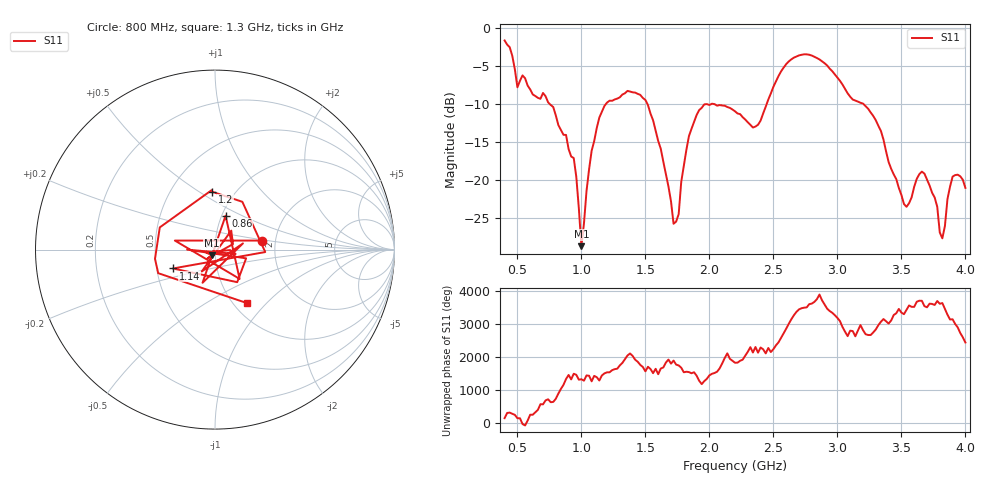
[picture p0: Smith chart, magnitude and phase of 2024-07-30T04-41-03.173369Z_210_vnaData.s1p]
!Created with skrf (http://scikit-rf.org).
# Hz S RI R 50.0
!freq ReS11 ImS11
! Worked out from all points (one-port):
!   181 points, 400 MHz to 4 GHz, reference 50 ohm
!   lowest |S11| = -28.7 dB at 1 GHz (marker M1), VSWR 1.08, Z = 48.2 - j3.12 ohm
!   |S11| at or under -10 dB: 751.6 MHz to 1.192 GHz (440.6 MHz wide, 45.3 % of centre); 1.516 GHz to 2.017 GHz (501.8 MHz wide, 28.4 % of centre); 3.202 GHz to end of sweep (the widest 3 of 4)
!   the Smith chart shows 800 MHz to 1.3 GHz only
!   S11 on the Smith chart (normalised r, x): 800 MHz: 1.69, +0.18; 860 MHz: 1.04, +0.41; 1.14 GHz: 0.61, -0.14; 1.2 GHz: 0.79, +0.57; 1.3 GHz: 1.15, -0.79
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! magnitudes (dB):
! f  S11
! 400 MHz  -1.7
! 500 MHz  -7.8
! 540 MHz  -6.2
! 800 MHz  -11.5
! 860 MHz  -14.1
! 940 MHz  -17.1
! 1 GHz  -28.7
! 1.08 GHz  -16.2
! 1.14 GHz  -11.8
! 1.2 GHz  -9.8
! 1.3 GHz  -9.1
! 1.5 GHz  -9.5
! 1.62 GHz  -15.9
! 1.72 GHz  -25.8
! 1.76 GHz  -24.5
! 1.84 GHz  -14.2
! 1.92 GHz  -10.8
! 2.2 GHz  -11.0
! 2.38 GHz  -12.7
! 2.66 GHz  -3.9
! 2.86 GHz  -4.2
! 3.1 GHz  -9.1
! 3.3 GHz  -12.2
! 3.56 GHz  -23.1
! 3.68 GHz  -19.2
! 3.82 GHz  -27.7
! 3.9 GHz  -19.6
! 4 GHz  -21.1
